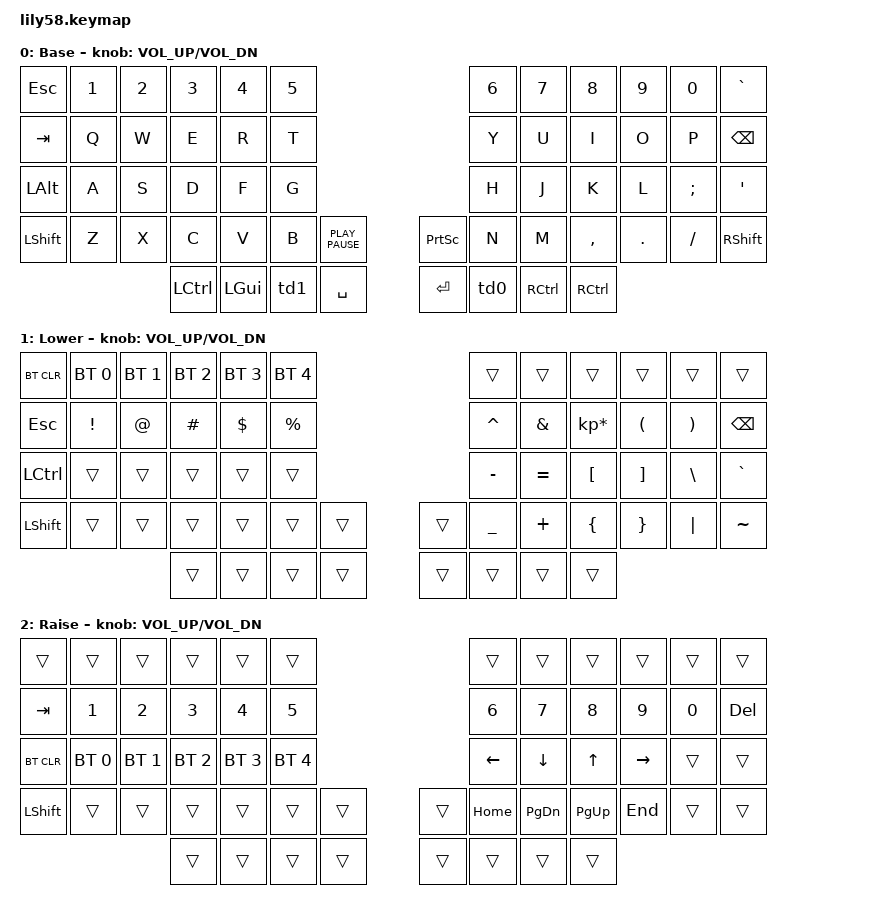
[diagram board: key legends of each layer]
/*
 * Copyright (c) 2020 The ZMK Contributors
 *
 * SPDX-License-Identifier: MIT
 */

#include <behaviors.dtsi>
#include <dt-bindings/zmk/bt.h>
#include <dt-bindings/zmk/keys.h>

/ {
    behaviors {
        td0: tap_dance_0 {
            compatible = "zmk,behavior-tap-dance";
            #binding-cells = <0>;
            tapping-term-ms = <200>;
            bindings = <&mo 2>, <&kp ESC>;
        };

        td1: tap_dance_1 {
            compatible = "zmk,behavior-tap-dance";
            #binding-cells = <0>;
            tapping-term-ms = <200>;
            bindings = <&mo 1>, <&kp ESC>;
        };
    };

    keymap {
        compatible = "zmk,keymap";

        default_layer {

            display-name = "Base";
            bindings = <
&kp ESC    &kp N1  &kp N2  &kp N3     &kp N4    &kp N5                                       &kp N6  &kp N7     &kp N8     &kp N9   &kp N0    &kp GRAVE
&kp TAB    &kp Q   &kp W   &kp E      &kp R     &kp T                                        &kp Y   &kp U      &kp I      &kp O    &kp P     &kp BSPC
&kp LALT   &kp A   &kp S   &kp D      &kp F     &kp G                                        &kp H   &kp J      &kp K      &kp L    &kp SEMI  &kp SQT
&kp LSHFT  &kp Z   &kp X   &kp C      &kp V     &kp B   &kp K_PLAY_PAUSE    &kp PRINTSCREEN  &kp N   &kp M      &kp COMMA  &kp DOT  &kp FSLH  &kp RSHFT
                           &kp LCTRL  &kp LGUI  &td1    &kp SPACE           &kp RET          &td0    &kp RCTRL  &kp RCTRL
            >;

            sensor-bindings = <&inc_dec_kp C_VOL_UP C_VOL_DN>;
        };

        lower_layer {

            display-name = "Lower";
            bindings = <
&bt BT_CLR  &bt BT_SEL 0  &bt BT_SEL 1  &bt BT_SEL 2  &bt BT_SEL 3  &bt BT_SEL 4                    &trans     &trans     &trans           &trans    &trans    &trans
&kp ESC     &kp EXCL      &kp AT        &kp HASH      &kp DLLR      &kp PRCNT                       &kp CARET  &kp AMPS   &kp KP_MULTIPLY  &kp LPAR  &kp RPAR  &kp BSPC
&kp LCTRL   &trans        &trans        &trans        &trans        &trans                          &kp MINUS  &kp EQUAL  &kp LBKT         &kp RBKT  &kp BSLH  &kp GRAVE
&kp LSHFT   &trans        &trans        &trans        &trans        &trans        &trans    &trans  &kp UNDER  &kp PLUS   &kp LBRC         &kp RBRC  &kp PIPE  &kp TILDE
                                        &trans        &trans        &trans        &trans    &trans  &trans     &trans     &trans
            >;

            sensor-bindings = <&inc_dec_kp C_VOL_UP C_VOL_DN>;
        };

        raise_layer {

            display-name = "Raise";
            bindings = <
&trans      &trans        &trans        &trans        &trans        &trans                          &trans    &trans     &trans  &trans     &trans  &trans
&kp TAB     &kp N1        &kp N2        &kp N3        &kp N4        &kp N5                          &kp N6    &kp N7     &kp N8  &kp N9     &kp N0  &kp DEL
&bt BT_CLR  &bt BT_SEL 0  &bt BT_SEL 1  &bt BT_SEL 2  &bt BT_SEL 3  &bt BT_SEL 4                    &kp LEFT  &kp DOWN   &kp UP  &kp RIGHT  &trans  &trans
&kp LSHFT   &trans        &trans        &trans        &trans        &trans        &trans    &trans  &kp HOME  &kp PG_DN  &kp PG_UP &kp END    &trans  &trans
                                        &trans        &trans        &trans        &trans    &trans  &trans    &trans     &trans
            >;

            sensor-bindings = <&inc_dec_kp C_VOL_UP C_VOL_DN>;
        };
    };
};
